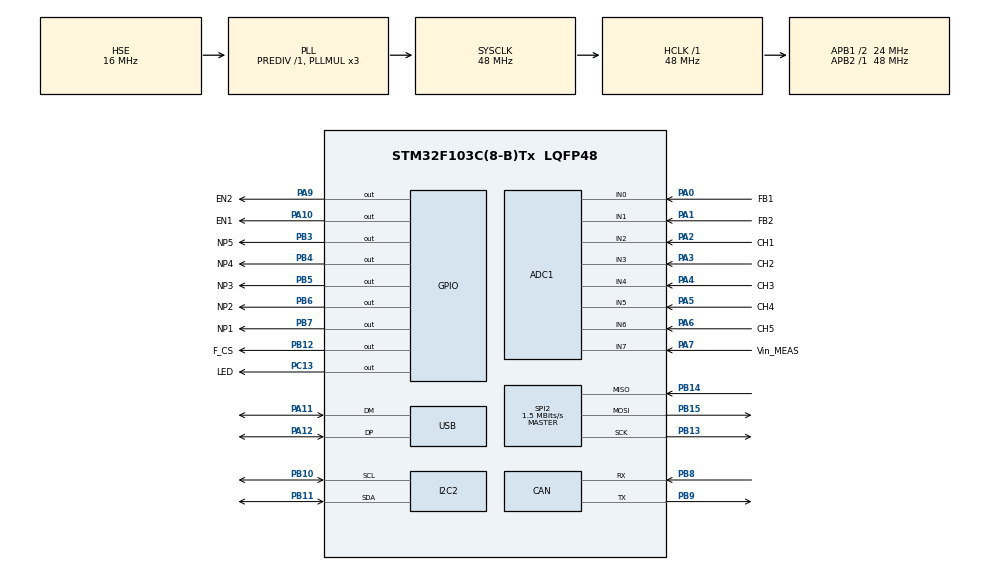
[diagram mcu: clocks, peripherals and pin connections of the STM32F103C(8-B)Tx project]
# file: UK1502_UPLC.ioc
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ADC1.Channel-0\#ChannelRegularConversion=ADC_CHANNEL_0
ADC1.Channel-1\#ChannelRegularConversion=ADC_CHANNEL_1
ADC1.Channel-2\#ChannelRegularConversion=ADC_CHANNEL_2
ADC1.Channel-3\#ChannelRegularConversion=ADC_CHANNEL_3
ADC1.Channel-4\#ChannelRegularConversion=ADC_CHANNEL_4
ADC1.Channel-5\#ChannelRegularConversion=ADC_CHANNEL_5
ADC1.Channel-6\#ChannelRegularConversion=ADC_CHANNEL_6
ADC1.Channel-7\#ChannelRegularConversion=ADC_CHANNEL_7
ADC1.Channel-8\#ChannelRegularConversion=ADC_CHANNEL_VREFINT
ADC1.Channel-9\#ChannelRegularConversion=ADC_CHANNEL_TEMPSENSOR
ADC1.ContinuousConvMode=ENABLE
ADC1.DataAlign=ADC_DATAALIGN_RIGHT
ADC1.EnableInjectedConversion=DISABLE
ADC1.NbrOfConversion=10
ADC1.NbrOfConversionFlag=1
ADC1.Rank-0\#ChannelRegularConversion=1
ADC1.Rank-1\#ChannelRegularConversion=2
ADC1.Rank-2\#ChannelRegularConversion=3
ADC1.Rank-3\#ChannelRegularConversion=4
ADC1.Rank-4\#ChannelRegularConversion=5
ADC1.Rank-5\#ChannelRegularConversion=6
ADC1.Rank-6\#ChannelRegularConversion=7
ADC1.Rank-7\#ChannelRegularConversion=8
ADC1.Rank-8\#ChannelRegularConversion=9
ADC1.Rank-9\#ChannelRegularConversion=10
ADC1.SamplingTime-0\#ChannelRegularConversion=ADC_SAMPLETIME_13CYCLES_5
ADC1.SamplingTime-1\#ChannelRegularConversion=ADC_SAMPLETIME_13CYCLES_5
ADC1.SamplingTime-2\#ChannelRegularConversion=ADC_SAMPLETIME_13CYCLES_5
ADC1.SamplingTime-3\#ChannelRegularConversion=ADC_SAMPLETIME_13CYCLES_5
ADC1.SamplingTime-4\#ChannelRegularConversion=ADC_SAMPLETIME_13CYCLES_5
ADC1.SamplingTime-5\#ChannelRegularConversion=ADC_SAMPLETIME_13CYCLES_5
ADC1.SamplingTime-6\#ChannelRegularConversion=ADC_SAMPLETIME_13CYCLES_5
ADC1.SamplingTime-7\#ChannelRegularConversion=ADC_SAMPLETIME_13CYCLES_5
ADC1.SamplingTime-8\#ChannelRegularConversion=ADC_SAMPLETIME_13CYCLES_5
ADC1.SamplingTime-9\#ChannelRegularConversion=ADC_SAMPLETIME_13CYCLES_5
ADC1.master=1
CAN.CalculateTimeBit=2000
CAN.CalculateTimeQuantum=666.6666666666666
Dma.ADC1.0.Direction=DMA_PERIPH_TO_MEMORY
Dma.ADC1.0.Instance=DMA1_Channel1
Dma.ADC1.0.MemDataAlignment=DMA_MDATAALIGN_WORD
Dma.ADC1.0.MemInc=DMA_MINC_ENABLE
Dma.ADC1.0.Mode=DMA_CIRCULAR
Dma.ADC1.0.PeriphDataAlignment=DMA_PDATAALIGN_WORD
Dma.ADC1.0.PeriphInc=DMA_PINC_DISABLE
Dma.ADC1.0.Priority=DMA_PRIORITY_MEDIUM
Dma.Request0=ADC1
IWDG.Prescaler=IWDG_PRESCALER_128
IWDG.Reload=2000
Mcu.Family=STM32F1
Mcu.Name=STM32F103C(8-B)Tx
Mcu.Package=LQFP48
NVIC.ADC1_2_IRQn=true\:0\:0\:false\:false\:true\:true\:true
NVIC.DMA1_Channel1_IRQn=true\:0\:0\:false\:false\:true\:false\:true
NVIC.PriorityGroup=NVIC_PRIORITYGROUP_4
NVIC.SPI2_IRQn=true\:0\:0\:false\:false\:true\:true\:true
NVIC.USB_HP_CAN1_TX_IRQn=true\:0\:0\:false\:false\:true\:true\:true
NVIC.USB_LP_CAN1_RX0_IRQn=true\:0\:0\:false\:false\:true\:false\:true
PA0-WKUP.GPIO_Label=FB1
PA0-WKUP.Signal=ADCx_IN0
PA1.GPIO_Label=FB2
PA1.Signal=ADCx_IN1
PA10.GPIO_Label=EN1
PA10.GPIO_PuPd=GPIO_PULLUP
PA10.GPIO_Speed=GPIO_SPEED_FREQ_HIGH
PA10.PinState=GPIO_PIN_RESET
PA10.Signal=GPIO_Output
PA11.Mode=Device
PA11.Signal=USB_DM
PA12.Mode=Device
PA12.Signal=USB_DP
PA13.Mode=Serial_Wire
PA13.Signal=SYS_JTMS-SWDIO
PA14.Mode=Serial_Wire
PA14.Signal=SYS_JTCK-SWCLK
PA2.GPIO_Label=CH1
PA2.Signal=ADCx_IN2
PA3.GPIO_Label=CH2
PA3.Signal=ADCx_IN3
PA4.GPIO_Label=CH3
PA4.Signal=ADCx_IN4
PA5.GPIO_Label=CH4
PA5.Signal=ADCx_IN5
PA6.GPIO_Label=CH5
PA6.Signal=ADCx_IN6
PA7.GPIO_Label=Vin_MEAS
PA7.Signal=ADCx_IN7
PA9.GPIO_Label=EN2
PA9.GPIO_PuPd=GPIO_PULLUP
PA9.GPIO_Speed=GPIO_SPEED_FREQ_HIGH
PA9.PinState=GPIO_PIN_RESET
PA9.Signal=GPIO_Output
PB10.Mode=I2C
PB10.Signal=I2C2_SCL
PB11.Mode=I2C
PB11.Signal=I2C2_SDA
PB12.GPIO_Label=F_CS
PB12.GPIO_PuPd=GPIO_PULLUP
PB12.GPIO_Speed=GPIO_SPEED_FREQ_HIGH
PB12.Signal=GPIO_Output
PB13.Mode=Full_Duplex_Master
PB13.Signal=SPI2_SCK
PB14.GPIO_PuPd=GPIO_PULLUP
PB14.Mode=Full_Duplex_Master
PB14.Signal=SPI2_MISO
PB15.Mode=Full_Duplex_Master
PB15.Signal=SPI2_MOSI
PB3.GPIO_Label=NP5
PB3.GPIO_PuPd=GPIO_PULLUP
PB3.GPIO_Speed=GPIO_SPEED_FREQ_HIGH
PB3.Signal=GPIO_Output
PB4.GPIO_Label=NP4
PB4.GPIO_PuPd=GPIO_PULLUP
PB4.GPIO_Speed=GPIO_SPEED_FREQ_HIGH
PB4.Signal=GPIO_Output
PB5.GPIO_Label=NP3
PB5.GPIO_PuPd=GPIO_PULLUP
PB5.GPIO_Speed=GPIO_SPEED_FREQ_HIGH
PB5.Signal=GPIO_Output
PB6.GPIO_Label=NP2
PB6.GPIO_PuPd=GPIO_PULLUP
PB6.GPIO_Speed=GPIO_SPEED_FREQ_HIGH
PB6.Signal=GPIO_Output
PB7.GPIO_Label=NP1
PB7.GPIO_PuPd=GPIO_PULLUP
PB7.GPIO_Speed=GPIO_SPEED_FREQ_HIGH
PB7.Signal=GPIO_Output
PB8.Mode=Master
PB8.Signal=CAN_RX
PB9.Mode=Master
PB9.Signal=CAN_TX
PC13-TAMPER-RTC.GPIO_Label=LED
PC13-TAMPER-RTC.GPIO_ModeDefaultOutputPP=GPIO_MODE_OUTPUT_PP
PC13-TAMPER-RTC.GPIO_Speed=GPIO_SPEED_FREQ_HIGH
PC13-TAMPER-RTC.Signal=GPIO_Output
PC14-OSC32_IN.Mode=LSE-External-Oscillator
PC14-OSC32_IN.Signal=RCC_OSC32_IN
PC15-OSC32_OUT.Mode=LSE-External-Oscillator
PC15-OSC32_OUT.Signal=RCC_OSC32_OUT
PD0-OSC_IN.Mode=HSE-External-Oscillator
PD0-OSC_IN.Signal=RCC_OSC_IN
PD1-OSC_OUT.Mode=HSE-External-Oscillator
PD1-OSC_OUT.Signal=RCC_OSC_OUT
ProjectManager.HeapSize=0x400
ProjectManager.StackSize=0x600
ProjectManager.TargetToolchain=STM32CubeIDE
RCC.ADCPresc=RCC_ADCPCLK2_DIV4
RCC.AHBFreq_Value=48000000
RCC.APB1CLKDivider=RCC_HCLK_DIV2
RCC.APB1Freq_Value=24000000
RCC.APB1TimFreq_Value=48000000
RCC.APB2Freq_Value=48000000
RCC.APB2TimFreq_Value=48000000
RCC.HCLKFreq_Value=48000000
RCC.HSE_VALUE=16000000
RCC.PLLMUL=RCC_PLL_MUL3
RCC.SYSCLKFreq_VALUE=48000000
RCC.SYSCLKSource=RCC_SYSCLKSOURCE_PLLCLK
RCC.USBFreq_Value=48000000
SH.ADCx_IN0.0=ADC1_IN0,IN0
SH.ADCx_IN1.0=ADC1_IN1,IN1
SH.ADCx_IN2.0=ADC1_IN2,IN2
SH.ADCx_IN3.0=ADC1_IN3,IN3
SH.ADCx_IN4.0=ADC1_IN4,IN4
SH.ADCx_IN5.0=ADC1_IN5,IN5
SH.ADCx_IN6.0=ADC1_IN6,IN6
SH.ADCx_IN7.0=ADC1_IN7,IN7
SPI2.BaudRatePrescaler=SPI_BAUDRATEPRESCALER_16
SPI2.CalculateBaudRate=1.5 MBits/s
SPI2.Direction=SPI_DIRECTION_2LINES
SPI2.Mode=SPI_MODE_MASTER
SPI2.VirtualType=VM_MASTER
USB.low_power_enable=DISABLE
USB.lpm_enable=DISABLE
USB_DEVICE.APP_RX_DATA_SIZE=30
USB_DEVICE.APP_TX_DATA_SIZE=10
USB_DEVICE.CLASS_NAME_FS=CDC
USB_DEVICE.MANUFACTURER_STRING=SciSonic
USB_DEVICE.PID_CDC_FS=22336
USB_DEVICE.PRODUCT_STRING_CDC_FS=SciSonic PLC
USB_DEVICE.VirtualMode=Cdc
USB_DEVICE.VirtualModeFS=Cdc_FS
VP_ADC1_TempSens_Input.Mode=IN-TempSens
VP_ADC1_Vref_Input.Mode=IN-Vrefint
VP_IWDG_VS_IWDG.Mode=IWDG_Activate
VP_USB_DEVICE_VS_USB_DEVICE_CDC_FS.Mode=CDC_FS
board=custom

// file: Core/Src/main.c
/* USER CODE BEGIN Header */
/**
  ******************************************************************************
  * @file           : main.c
  * @brief          : Main program body
  ******************************************************************************
  * @attention
  *
  * <h2><center>&copy; Copyright (c) 2020 STMicroelectronics.
  * All rights reserved.</center></h2>
  *
  * This software component is licensed by ST under Ultimate Liberty license
  * SLA0044, the "License"; You may not use this file except in compliance with
  * the License. You may obtain a copy of the License at:
  *                             www.st.com/SLA0044
  *
  ******************************************************************************
  */
/* USER CODE END Header */

#include <EEPROM.h>
#include "main.h"
#include "usb_device.h"

/* USER CODE BEGIN Includes */
#include "usbd_cdc_if.h"
#include "Globals.h"
#include "Flasher.h"
#include "ProgParser.h"

/* USER CODE END Includes */

ADC_HandleTypeDef hadc1;
DMA_HandleTypeDef hdma_adc1;

CAN_HandleTypeDef hcan;

I2C_HandleTypeDef hi2c2;

IWDG_HandleTypeDef hiwdg;

SPI_HandleTypeDef hspi2;

/* USER CODE BEGIN PV */

bool ADCReady;
uint32_t ADCValues[10];
/* USER CODE END PV */

void SystemClock_Config(void);
static void MX_GPIO_Init(void);
static void MX_ADC1_Init(void);
static void MX_SPI2_Init(void);
static void MX_DMA_Init(void);
static void MX_IWDG_Init(void);
static void MX_CAN_Init(void);
static void MX_I2C2_Init(void);
/* USER CODE BEGIN PFP */
void WDT();
void CDC_RX_IRQ_Handler(USBD_HandleTypeDef * usbfs);
bool Send_Data_To_CDC(uint8_t * Data, uint8_t Len);
void USB_RX_MainProcess();
void SysTickEvent();
void ADC_Interrupt_Handler();
void ProcessADC();
/* USER CODE END PFP */

/* USER CODE BEGIN 0 */
#define convertToMili 1000

uint32_t BackTick;
uint32_t LedTick;
uint8_t Ticks;
uint8_t led_start_once;
int led_blink_val;
void LED_Service()
{
	if(!ProgrammingMode)
	 {
		 if(FlashIsProgrammed && ProgInited)
		 {
			 if((HAL_GetTick()-BackTick)>1000)
				 {
				 HAL_GPIO_TogglePin(LED_GPIO_Port,LED_Pin);
				 BackTick=HAL_GetTick();
				 }
			 if(Ticks<2) Ticks++;
			 else CareOuts=true;
		 }
		 else
		 {
			 Ticks=0;
			 CareOuts=false;
			 if((HAL_GetTick()-BackTick)>300)
				 {
				 HAL_GPIO_TogglePin(LED_GPIO_Port,LED_Pin);
				 BackTick=HAL_GetTick();
				 }
		 }
	 }
	 else if(ProgrammingMode)
	 {
		 Ticks=0;
		 CareOuts=false;
		 HAL_GPIO_WritePin(LED_GPIO_Port,LED_Pin, GPIO_PIN_RESET);
		 BackTick=HAL_GetTick();
	 }
}

void Led_Startup()
{
	Flash_ReadPage(pageData,1,2);
	uint8_t data[1];
	uint8_t *ledPtr=pageData;
	if(ledPtr[0] == 'L')
	{
		ledPtr = ledPtr + 1;
		memcpy(data,ledPtr,1);
		sscanf((char*)data,"%d",&led_blink_val);
	}
	else
	{
		/*Do Nothing. Error Stage*/
	}
	led_blink_val = led_blink_val * 2;
	while(led_blink_val>0)
	{
		if((HAL_GetTick()-BackTick)>300)
		{
			 HAL_GPIO_TogglePin(LED_GPIO_Port,LED_Pin);
			 BackTick=HAL_GetTick();
			 led_blink_val--;
		}
		WDT();
	}
	HAL_Delay(1000);
}

/*
void HAL_ADC_ConvCpltCallback(ADC_HandleTypeDef* hadc1)
{
	if(hadc1->Instance == ADC1)
	{
		ADCValues[0] = ADCValuesDma[0];
		ADCValues[1] = ADCValuesDma[1];
		ADCValues[2] = ADCValuesDma[2];
		ADCValues[3] = ADCValuesDma[3];
		ADCValues[4] = ADCValuesDma[4];
		ADCValues[5] = ADCValuesDma[5];
		ADCValues[6] = ADCValuesDma[6];
		ADCValues[7] = ADCValuesDma[7];
		ADCValues[8] = ADCValuesDma[8];
		ADCValues[9] = ADCValuesDma[9];
	}
}
*/
/* USER CODE END 0 */

int main(void)
{
  /* USER CODE BEGIN 1 */
	BackTick=0;
  /* USER CODE END 1 */

  /* MCU Configuration--------------------------------------------------------*/

  /* Reset of all peripherals, Initializes the Flash interface and the Systick. */
  HAL_Init();

  /* Configure the system clock */
  SystemClock_Config();

  /* USER CODE BEGIN SysInit */
  //HAL_Delay(300);
  ADCReady=false;
  /* USER CODE END SysInit */

  /* Initialize all configured peripherals */
  MX_GPIO_Init();
  MX_ADC1_Init();
  MX_SPI2_Init();
  MX_USB_DEVICE_Init();
  MX_DMA_Init();
  MX_IWDG_Init();
  MX_CAN_Init();
  MX_I2C2_Init();
  /* USER CODE BEGIN 2 */
//-----------------
  MX_ADC1_Init();
  HAL_ADC_Start_DMA(&hadc1, (uint32_t*)&ADCValues,10);

  /* USER CODE END 2 */

  /* Infinite loop */
  /* USER CODE BEGIN WHILE */
  InitGlobals();
  WDT();
  FlasherInit();
  WDT();
  Led_Startup();
  WDT();
  while (1)
  {
	 if(ADCReady) ProcessADC();
	 USB_RX_MainProcess();
	 WDT();
	 ProcessIO();
	 WDT();
    /* USER CODE END WHILE */

    /* USER CODE BEGIN 3 */

	 LED_Service();
  }
  /* USER CODE END 3 */
}

void SystemClock_Config(void)
{
  RCC_OscInitTypeDef RCC_OscInitStruct = {0};
  RCC_ClkInitTypeDef RCC_ClkInitStruct = {0};
  RCC_PeriphCLKInitTypeDef PeriphClkInit = {0};

  /** Initializes the CPU, AHB and APB busses clocks
  */
  RCC_OscInitStruct.OscillatorType = RCC_OSCILLATORTYPE_LSI|RCC_OSCILLATORTYPE_HSE;
  RCC_OscInitStruct.HSEState = RCC_HSE_ON;
  RCC_OscInitStruct.HSEPredivValue = RCC_HSE_PREDIV_DIV1;
  RCC_OscInitStruct.HSIState = RCC_HSI_ON;
  RCC_OscInitStruct.LSIState = RCC_LSI_ON;
  RCC_OscInitStruct.PLL.PLLState = RCC_PLL_ON;
  RCC_OscInitStruct.PLL.PLLSource = RCC_PLLSOURCE_HSE;
  RCC_OscInitStruct.PLL.PLLMUL = RCC_PLL_MUL3;
  if (HAL_RCC_OscConfig(&RCC_OscInitStruct) != HAL_OK)
  {
    Error_Handler();
  }
  /** Initializes the CPU, AHB and APB busses clocks
  */
  RCC_ClkInitStruct.ClockType = RCC_CLOCKTYPE_HCLK|RCC_CLOCKTYPE_SYSCLK
                              |RCC_CLOCKTYPE_PCLK1|RCC_CLOCKTYPE_PCLK2;
  RCC_ClkInitStruct.SYSCLKSource = RCC_SYSCLKSOURCE_PLLCLK;
  RCC_ClkInitStruct.AHBCLKDivider = RCC_SYSCLK_DIV1;
  RCC_ClkInitStruct.APB1CLKDivider = RCC_HCLK_DIV2;
  RCC_ClkInitStruct.APB2CLKDivider = RCC_HCLK_DIV1;

  if (HAL_RCC_ClockConfig(&RCC_ClkInitStruct, FLASH_LATENCY_1) != HAL_OK)
  {
    Error_Handler();
  }
  PeriphClkInit.PeriphClockSelection = RCC_PERIPHCLK_ADC|RCC_PERIPHCLK_USB;
  PeriphClkInit.AdcClockSelection = RCC_ADCPCLK2_DIV4;
  PeriphClkInit.UsbClockSelection = RCC_USBCLKSOURCE_PLL;
  if (HAL_RCCEx_PeriphCLKConfig(&PeriphClkInit) != HAL_OK)
  {
    Error_Handler();
  }
}

static void MX_ADC1_Init(void)
{

  ADC_ChannelConfTypeDef sConfig = {0};

  /** Common config
  */
  hadc1.Instance = ADC1;
  hadc1.Init.ScanConvMode = ADC_SCAN_ENABLE;
  hadc1.Init.ContinuousConvMode = ENABLE;
  hadc1.Init.DiscontinuousConvMode = DISABLE;
  hadc1.Init.ExternalTrigConv = ADC_SOFTWARE_START;
  hadc1.Init.DataAlign = ADC_DATAALIGN_RIGHT;
  hadc1.Init.NbrOfConversion = 10;
  if (HAL_ADC_Init(&hadc1) != HAL_OK)
  {
    Error_Handler();
  }
  /** Configure Regular Channel
  */
  sConfig.Channel = ADC_CHANNEL_0;
  sConfig.Rank = ADC_REGULAR_RANK_1;
  sConfig.SamplingTime = ADC_SAMPLETIME_55CYCLES_5;
  if (HAL_ADC_ConfigChannel(&hadc1, &sConfig) != HAL_OK)
  {
    Error_Handler();
  }
  /** Configure Regular Channel
  */
  sConfig.Channel = ADC_CHANNEL_1;
  sConfig.Rank = ADC_REGULAR_RANK_2;
  if (HAL_ADC_ConfigChannel(&hadc1, &sConfig) != HAL_OK)
  {
    Error_Handler();
  }
  /** Configure Regular Channel
  */
  sConfig.Channel = ADC_CHANNEL_2;
  sConfig.Rank = ADC_REGULAR_RANK_3;
  if (HAL_ADC_ConfigChannel(&hadc1, &sConfig) != HAL_OK)
  {
    Error_Handler();
  }
  /** Configure Regular Channel
  */
  sConfig.Channel = ADC_CHANNEL_3;
  sConfig.Rank = ADC_REGULAR_RANK_4;
  if (HAL_ADC_ConfigChannel(&hadc1, &sConfig) != HAL_OK)
  {
    Error_Handler();
  }
  /** Configure Regular Channel
  */
  sConfig.Channel = ADC_CHANNEL_4;
  sConfig.Rank = ADC_REGULAR_RANK_5;
  if (HAL_ADC_ConfigChannel(&hadc1, &sConfig) != HAL_OK)
  {
    Error_Handler();
  }
  /** Configure Regular Channel
  */
  sConfig.Channel = ADC_CHANNEL_5;
  sConfig.Rank = ADC_REGULAR_RANK_6;
  if (HAL_ADC_ConfigChannel(&hadc1, &sConfig) != HAL_OK)
  {
    Error_Handler();
  }
  /** Configure Regular Channel
  */
  sConfig.Channel = ADC_CHANNEL_6;
  sConfig.Rank = ADC_REGULAR_RANK_7;
  if (HAL_ADC_ConfigChannel(&hadc1, &sConfig) != HAL_OK)
  {
    Error_Handler();
  }
  /** Configure Regular Channel
  */
  sConfig.Channel = ADC_CHANNEL_7;
  sConfig.Rank = ADC_REGULAR_RANK_8;
  if (HAL_ADC_ConfigChannel(&hadc1, &sConfig) != HAL_OK)
  {
    Error_Handler();
  }
  /** Configure Regular Channel
  */
  sConfig.Channel = ADC_CHANNEL_VREFINT;
  sConfig.Rank = ADC_REGULAR_RANK_9;
  if (HAL_ADC_ConfigChannel(&hadc1, &sConfig) != HAL_OK)
  {
    Error_Handler();
  }
  /** Configure Regular Channel
  */
  sConfig.Channel = ADC_CHANNEL_TEMPSENSOR;
  sConfig.Rank = ADC_REGULAR_RANK_10;
  if (HAL_ADC_ConfigChannel(&hadc1, &sConfig) != HAL_OK)
  {
    Error_Handler();
  }

}

static void MX_CAN_Init(void)
{

  hcan.Instance = CAN1;
  hcan.Init.Prescaler = 16;
  hcan.Init.Mode = CAN_MODE_NORMAL;
  hcan.Init.SyncJumpWidth = CAN_SJW_1TQ;
  hcan.Init.TimeSeg1 = CAN_BS1_1TQ;
  hcan.Init.TimeSeg2 = CAN_BS2_1TQ;
  hcan.Init.TimeTriggeredMode = DISABLE;
  hcan.Init.AutoBusOff = DISABLE;
  hcan.Init.AutoWakeUp = DISABLE;
  hcan.Init.AutoRetransmission = DISABLE;
  hcan.Init.ReceiveFifoLocked = DISABLE;
  hcan.Init.TransmitFifoPriority = DISABLE;
  if (HAL_CAN_Init(&hcan) != HAL_OK)
  {
    Error_Handler();
  }

}

static void MX_I2C2_Init(void)
{

  hi2c2.Instance = I2C2;
  hi2c2.Init.ClockSpeed = 100000;
  hi2c2.Init.DutyCycle = I2C_DUTYCYCLE_2;
  hi2c2.Init.OwnAddress1 = 0;
  hi2c2.Init.AddressingMode = I2C_ADDRESSINGMODE_7BIT;
  hi2c2.Init.DualAddressMode = I2C_DUALADDRESS_DISABLE;
  hi2c2.Init.OwnAddress2 = 0;
  hi2c2.Init.GeneralCallMode = I2C_GENERALCALL_DISABLE;
  hi2c2.Init.NoStretchMode = I2C_NOSTRETCH_DISABLE;
  if (HAL_I2C_Init(&hi2c2) != HAL_OK)
  {
    Error_Handler();
  }

}

static void MX_IWDG_Init(void)
{

  hiwdg.Instance = IWDG;
  hiwdg.Init.Prescaler = IWDG_PRESCALER_128;
  hiwdg.Init.Reload = 2000;
  if (HAL_IWDG_Init(&hiwdg) != HAL_OK)
  {
    Error_Handler();
  }

}

static void MX_SPI2_Init(void)
{

  /* SPI2 parameter configuration*/
  hspi2.Instance = SPI2;
  hspi2.Init.Mode = SPI_MODE_MASTER;
  hspi2.Init.Direction = SPI_DIRECTION_2LINES;
  hspi2.Init.DataSize = SPI_DATASIZE_8BIT;
  hspi2.Init.CLKPolarity = SPI_POLARITY_LOW;
  hspi2.Init.CLKPhase = SPI_PHASE_1EDGE;
  hspi2.Init.NSS = SPI_NSS_SOFT;
  hspi2.Init.BaudRatePrescaler = SPI_BAUDRATEPRESCALER_16;
  hspi2.Init.FirstBit = SPI_FIRSTBIT_MSB;
  hspi2.Init.TIMode = SPI_TIMODE_DISABLE;
  hspi2.Init.CRCCalculation = SPI_CRCCALCULATION_DISABLE;
  hspi2.Init.CRCPolynomial = 10;
  if (HAL_SPI_Init(&hspi2) != HAL_OK)
  {
    Error_Handler();
  }

}

static void MX_DMA_Init(void)
{

  /* DMA controller clock enable */
  __HAL_RCC_DMA1_CLK_ENABLE();

  /* DMA interrupt init */
  /* DMA1_Channel1_IRQn interrupt configuration */
  HAL_NVIC_SetPriority(DMA1_Channel1_IRQn, 0, 0);
  HAL_NVIC_EnableIRQ(DMA1_Channel1_IRQn);

}

static void MX_GPIO_Init(void)
{
  GPIO_InitTypeDef GPIO_InitStruct = {0};

  /* GPIO Ports Clock Enable */
  __HAL_RCC_GPIOC_CLK_ENABLE();
  __HAL_RCC_GPIOD_CLK_ENABLE();
  __HAL_RCC_GPIOA_CLK_ENABLE();
  __HAL_RCC_GPIOB_CLK_ENABLE();

  /*Configure GPIO pin Output Level */
  HAL_GPIO_WritePin(LED_GPIO_Port, LED_Pin, GPIO_PIN_SET);

  /*Configure GPIO pin Output Level */
  HAL_GPIO_WritePin(GPIOB, F_CS_Pin|NP5_Pin|NP4_Pin|NP3_Pin
                          |NP2_Pin|NP1_Pin, GPIO_PIN_RESET);

  /*Configure GPIO pin Output Level */
  HAL_GPIO_WritePin(GPIOA, EN2_Pin|EN1_Pin, GPIO_PIN_RESET);

  /*Configure GPIO pin : LED_Pin */
  GPIO_InitStruct.Pin = LED_Pin;
  GPIO_InitStruct.Mode = GPIO_MODE_OUTPUT_PP;
  GPIO_InitStruct.Pull = GPIO_NOPULL;
  GPIO_InitStruct.Speed = GPIO_SPEED_FREQ_HIGH;
  HAL_GPIO_Init(LED_GPIO_Port, &GPIO_InitStruct);

  /*Configure GPIO pins : F_CS_Pin NP5_Pin NP4_Pin NP3_Pin
                           NP2_Pin NP1_Pin */
  GPIO_InitStruct.Pin = F_CS_Pin|NP5_Pin|NP4_Pin|NP3_Pin
                          |NP2_Pin|NP1_Pin;
  GPIO_InitStruct.Mode = GPIO_MODE_OUTPUT_PP;
  GPIO_InitStruct.Pull = GPIO_PULLUP;
  GPIO_InitStruct.Speed = GPIO_SPEED_FREQ_HIGH;
  HAL_GPIO_Init(GPIOB, &GPIO_InitStruct);

  /*Configure GPIO pins : EN2_Pin EN1_Pin */
  GPIO_InitStruct.Pin = EN2_Pin|EN1_Pin;
  GPIO_InitStruct.Mode = GPIO_MODE_OUTPUT_PP;
  GPIO_InitStruct.Pull = GPIO_PULLUP;
  GPIO_InitStruct.Speed = GPIO_SPEED_FREQ_HIGH;
  HAL_GPIO_Init(GPIOA, &GPIO_InitStruct);

}

/* USER CODE BEGIN 4 */
//-----------------------------------------------------------------------------------
void WDT()
{
	HAL_IWDG_Refresh(&hiwdg);
}
//----------------------------------------------------------------------------------
int _write(int file, char *ptr, int len)
{
  /* Implement your write code here, this is used by puts and printf for example */
  int i=0;
  for(i=0 ; i<len ; i++)
    ITM_SendChar((*ptr++));
  return len;
}
//----------------------------------------------------------------------------------
bool Send_Data_To_CDC(uint8_t * Data, uint8_t Len)
{
	if(Len>MAX_BUF) return false;
	if(Data==NULL) return false;
	if(Data[0]==0) return false;
	memcpy(SendData.Data,Data,Len);
	if(Len>0) SendData.len=Len;
	else SendData.len=strlen((char*)Data);
	uint8_t result = CDC_Transmit_FS(SendData.Data, SendData.len);
	SendData.len=0;
	if(result==USBD_BUSY || result==USBD_FAIL) return false;
	return true;
}
//------------------------------------------------------------------------------
void CDC_RX_IRQ_Handler(USBD_HandleTypeDef * usbfs)
{
	if(usbfs->pClassData==NULL) return;
	USBD_CDC_HandleTypeDef *hcdc = (USBD_CDC_HandleTypeDef *)usbfs->pClassData;
	if(hcdc->RxLength==0) return;
	if(RecvData.len>0 || BusyFlag)
		{
		hcdc->RxLength=0;
		/*uint8_t answ[2];
		answ[0]=COMMAND_PREFIX;
		answ[1]=BUSY_ANSWER;
		Send_Data_To_CDC(answ, 2);*/
		return;				//????? ?????????? ????? ?? ?????????
		}
	if(hcdc->RxBuffer[0]==0)
	{
		RecvData.len=0;
		hcdc->RxLength=0;
		return;
	}
	else
	{
		memcpy(RecvData.Data,hcdc->RxBuffer,hcdc->RxLength);
		RecvData.len=hcdc->RxLength;
		hcdc->RxLength=0;
	}
}
//-----------------------------------------------------------------------------
uint8_t DataStage;
void USB_RX_MainProcess()
{
	  if(RecvData.len>0) //???????? ??????
	  {
		  BusyFlag=true;
		  //??? ?????????
		  if(RecvData.Data[0]=='V' || RecvData.Data[0]=='v')
		  {
			  Send_Data_To_CDC((uint8_t*)FirmVer,strlen((char *)FirmVer));
		  }
		  else
		  {
			  PC_BuffProcessing(&RecvData);
		  }
		  //??? ?????????
		  RecvData.len=0; //????????? ????? ???????????? ??????.
		  BusyFlag=false;
	  }
}
//------------------------------------------------------------------------------
void SysTickEvent()
{
	return;
}

//----------------------------------------------------------------------------------
void ADC_Interrupt_Handler()
{
	ADCReady=true;
}
//----------------------------------------------------------------------------------
void CalcProcents()
{
	WDT();
	if(Channels.Vin>0)
	{
	Channels.CH1p= (Channels.CH1/Channels.Vin)*100.0;
	Channels.CH2p= (Channels.CH2/Channels.Vin)*100.0;
	Channels.CH3p= (Channels.CH3/Channels.Vin)*100.0;
	Channels.CH4p= (Channels.CH4/Channels.Vin)*100.0;
	Channels.CH5p= (Channels.CH5/Channels.Vin)*100.0;
	}
	else
	{
	Channels.CH1p= 100;
	Channels.CH2p= 100;
	Channels.CH3p= 100;
	Channels.CH4p= 100;
	Channels.CH5p= 100;
    }
}
//----------------------------------------------------------------------------------
#define USE_VREF
//#define PLC_DEBUG
#define VinOffsetVal 1910
void ProcessADC()
{
		//Channels
	float Vref;
	float temp;
	#ifdef USE_VREF
	if(ADCValues[8]>0)
	Vref = 1.157*4095.0/(float)(ADCValues[8]);
	else Vref =3.3;
	#else
	Vref = 3.33;
	#endif
	#ifndef PLC_DEBUG
	temp = (float)ADCValues[9]*Vref/4095.0;
	Channels.Temp = ((1.43-temp)/4.3)+25.0;
	Channels.FB1p = (float)(ADCValues[0]/4095.0)*100.0;
	Channels.FB2p = (float)(ADCValues[1]/4095.0)*100.0;
	Channels.FB1 = (float)(ADCValues[0]/4095.0)*Vref*1000;
	Channels.FB2 = (float)(ADCValues[1]/4095.0)*Vref*1000;
	if(ADCValues[2]>0)
	{
		val2 = ADCValues[2];
		ADCValues[2] = ADCValues[2] + 60;
	}
	temp = (float)ADCValues[2]*Vref/4095.0;
	temp = ((8.2396 * temp * temp *temp) - (32.813 * temp *temp) + (53.346 * temp) - 19.091);
	Channels.CH1 = temp*convertToMili;
	if(ADCValues[3]>0)
	{
		ADCValues[3] = ADCValues[3] + 60;
	}
	temp = (float)ADCValues[3]*Vref/4095.0;
	temp = ((8.2396 * temp * temp *temp) - (32.813 * temp *temp) + (53.346 * temp) - 19.091);
	Channels.CH2 = temp*convertToMili;
	if(ADCValues[4]>0)
	{
		ADCValues[4] = ADCValues[4] + 60;
	}
	temp = (float)ADCValues[4]*Vref/4095.0;
	temp = ((8.2396 * temp * temp *temp) - (32.813 * temp *temp) + (53.346 * temp) - 19.091);
	Channels.CH3 = temp*convertToMili;
	if(ADCValues[5]>0)
	{
		ADCValues[5] = ADCValues[5] + 60;
	}
	temp = (float)ADCValues[5]*Vref/4095.0;
	temp = ((8.2396 * temp * temp *temp) - (32.813 * temp *temp) + (53.346 * temp) - 19.091);
	Channels.CH4 = temp*convertToMili;
	if(ADCValues[6]>0)
	{
		ADCValues[6] = ADCValues[6] + 60;
	}
	temp = (float)ADCValues[6]*Vref/4095.0;
	temp = ((8.2396 * temp * temp *temp) - (32.813 * temp *temp) + (53.346 * temp) - 19.091);
	Channels.CH5 = temp*convertToMili;
	if(ADCValues[7]>0)
	{
		ADCValues[7] = ADCValues[7] + 60;
		temp = (float)ADCValues[7]*Vref/4095.0;
		temp = ((8.2396 * temp * temp *temp) - (32.813 * temp *temp) + (53.346 * temp) - 19.091);
		Channels.Vin = temp*convertToMili;
	}
	else
	{
		Channels.Vin = 0;
	}

	#else
	temp = (float)ADCValues[9]*Vref/4095.0;
	Channels.Temp = ((1.43-temp)/4.3)+25.0;;
	Channels.FB1 = (float)(ADCValues[0]/4095.0)*100.0;
	Channels.FB2 = (float)(ADCValues[1]/4095.0)*100.0;
	Channels.Vin = Vref;
	Channels.CH1 = (float)ADCValues[2]*Vref/4095.0;
	Channels.CH2 = (float)ADCValues[3]*Vref/4095.0;
	Channels.CH3 = (float)ADCValues[4]*Vref/4095.0;
	Channels.CH4 = (float)ADCValues[5]*Vref/4095.0;
	Channels.CH5 = (float)ADCValues[6]*Vref/4095.0;
	#endif
	CalcProcents();
	ADCReady=false;
}

//----------------------------------------------------------------------------------
//----------------------------------------------------------------------------------
//----------------------------------------------------------------------------------
//----------------------------------------------------------------------------------
//----------------------------------------------------------------------------------
//----------------------------------------------------------------------------------

/* USER CODE END 4 */

void Error_Handler(void)
{
}

/************************ (C) COPYRIGHT STMicroelectronics *****END OF FILE****/
